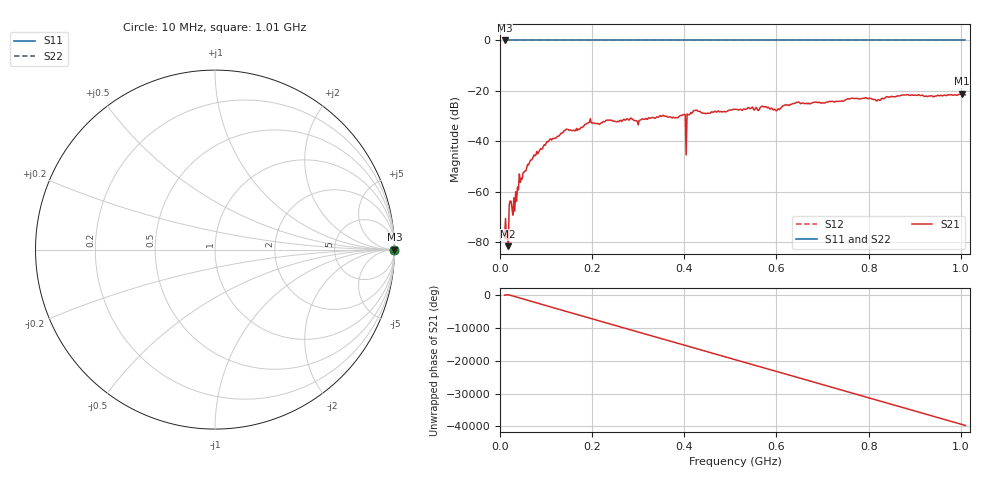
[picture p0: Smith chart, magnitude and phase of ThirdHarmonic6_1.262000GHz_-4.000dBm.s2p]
! 8/16/2025 1:34:34 PM
! C:\ANRITSUVNA\TEMP\TEMP.S2P
! CHANNEL.1
! TR.MEASUREMENT
! RAW.DATA
! RF.CORRECTION.OFF
! AVERAGING.OFF
! IF.BANDWIDTH: 5KHZ
! SWEEPTYPE:  FREQ.SWEEP(Linear)
! Reference Plane Port Info
! PORT:  PORT1  PORT2
! DISTANCE:  0  m  0  m
! TIME:  0  s  0  s
! PHASE.OFFSET:  0  deg.  0  deg.
! LOSS:  0  dB  0  dB
! REF.LOSS:  0  dB  0  dB
! REF.FREQ:  0  Hz  0  Hz
! Power Info
! POWER:  -20  dBm  -20  dBm
! EFF.POWER:  -20  dBm  -20  dBm
! SOURCE.ATTEN:  0  dB  0  dB
! TEST.ATTEN:  0  dB  0  dB
# GHZ S RI R 50.0
! FREQ.GHZ  S11RE  S11IM  S21RE  S21IM  S12RE  S12IM  S22RE  S22IM
!; PortSelection: Port_12
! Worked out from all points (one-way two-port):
!   501 points, 10 MHz to 1.01 GHz, reference 50 ohm
!   highest |S21| = -21.11 dB at 1.002 GHz (marker M1); lowest = -81.5 dB at 18 MHz (marker M2)
!   lowest |S11| = 0.0 dB at 10 MHz (marker M3)
!   |S11| at or under -10 dB: nowhere
!   |S22| runs from 0.0 to 0.0 dB; largest |S21 - S12| = 1.1
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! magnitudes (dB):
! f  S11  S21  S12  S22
! 10 MHz  0.0  -78.1  0.0  0.0
! 14 MHz  0.0  -78.6  0.0  0.0
! 18 MHz  0.0  -81.5  0.0  0.0
! 24 MHz  0.0  -63.8  0.0  0.0
! 32 MHz  0.0  -67.6  0.0  0.0
! 42 MHz  0.0  -52.9  0.0  0.0
! 70 MHz  0.0  -46.9  0.0  0.0
! 142 MHz  0.0  -35.5  0.0  0.0
! 178 MHz  0.0  -34.4  0.0  0.0
! 194 MHz  0.0  -32.4  0.0  0.0
! 344 MHz  0.0  -30.4  0.0  0.0
! 398 MHz  0.0  -29.3  0.0  0.0
! 400 MHz  0.0  -29.3  0.0  0.0
! 408 MHz  0.0  -29.4  0.0  0.0
! 410 MHz  0.0  -29.4  0.0  0.0
! 424 MHz  0.0  -27.7  0.0  0.0
! 510 MHz  0.0  -27.3  0.0  0.0
! 602 MHz  0.0  -27.5  0.0  0.0
! 678 MHz  0.0  -24.7  0.0  0.0
! 844 MHz  0.0  -22.5  0.0  0.0
! 1.002 GHz  0.0  -21.1  0.0  0.0
! 1.01 GHz  0.0  -21.5  0.0  0.0
